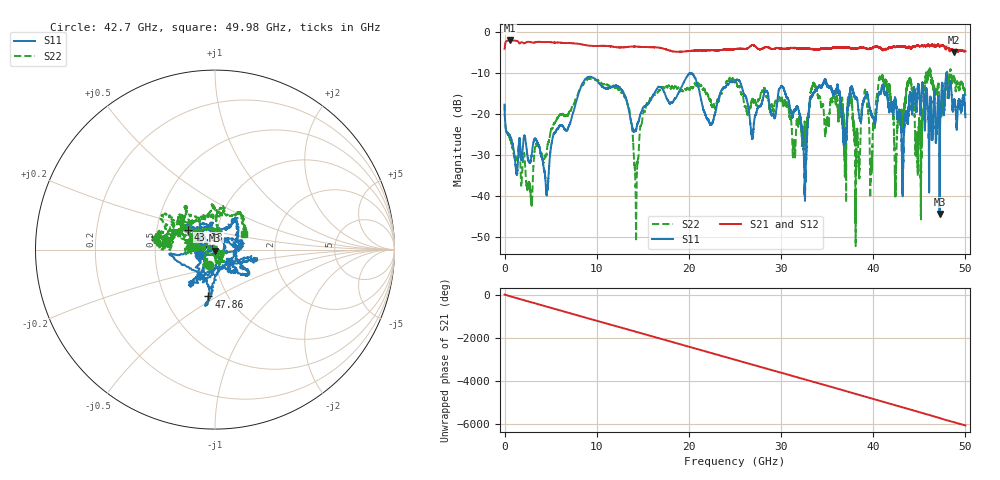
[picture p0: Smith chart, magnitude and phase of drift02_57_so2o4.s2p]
!Created with skrf (http://scikit-rf.org).
# Hz S RI R 50.0
!freq ReS11 ImS11 ReS21 ImS21 ReS12 ImS12 ReS22 ImS22
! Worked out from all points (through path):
!   10001 points, 300 kHz to 50 GHz, reference 50 ohm
!   highest |S21| = -1.99 dB at 625.3 MHz (marker M1); lowest = -4.8 dB at 48.77 GHz (marker M2)
!   group delay of S21, straight-line fit = 337 ps
!   lowest |S11| = -44.3 dB at 47.2 GHz (marker M3), VSWR 1.01, Z = 49.7 - j0.54 ohm
!   |S11| at or under -10 dB: start of sweep to 20.06 GHz; 20.24 GHz to 47.95 GHz (27.71 GHz wide, 81.3 % of centre); 47.96 GHz to end of sweep (the widest 3 of 6)
!   |S22| runs from -52.2 to -8.8 dB; largest |S21 - S12| = 0.035
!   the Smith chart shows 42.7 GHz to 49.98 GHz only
!   S11 on the Smith chart (normalised r, x): 42.7 GHz: 0.83, -0.05; 43.98 GHz: 0.72, +0.17; 47.86 GHz: 0.81, -0.46; 49.98 GHz: 1.15, -0.15
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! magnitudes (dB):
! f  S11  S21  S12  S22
! 300 kHz  -17.8  -4.0  -4.0  -17.4
! 625.3 MHz  -25.5  -2.0  -2.0  -26.3
! 4.565 GHz  -39.7  -2.4  -2.4  -29.4
! 8.335 GHz  -13.0  -2.9  -2.9  -13.2
! 13.01 GHz  -15.3  -3.6  -3.6  -15.7
! 14.28 GHz  -23.8  -3.5  -3.5  -49.7
! 16.67 GHz  -13.3  -3.7  -3.7  -14.5
! 25 GHz  -12.1  -4.1  -4.1  -12.1
! 32.56 GHz  -39.7  -3.9  -3.9  -24.5
! 33.34 GHz  -15.8  -4.0  -4.1  -13.5
! 37.49 GHz  -14.6  -3.8  -3.9  -16.1
! 38.29 GHz  -16.7  -4.0  -3.9  -24.1
! 41.67 GHz  -18.3  -3.8  -3.9  -12.6
! 42.7 GHz  -20.4  -3.5  -3.6  -21.0
! 43.98 GHz  -14.6  -3.7  -3.8  -11.3
! 44.99 GHz  -14.3  -3.3  -3.3  -20.9
! 45.91 GHz  -18.2  -3.1  -3.1  -10.7
! 47.2 GHz  -44.3  -3.5  -3.4  -16.3
! 47.86 GHz  -11.6  -4.1  -4.1  -13.3
! 48.77 GHz  -17.0  -4.8  -4.8  -10.8
! 49.98 GHz  -20.0  -4.6  -4.5  -14.8
! 50 GHz  -20.7  -4.6  -4.6  -15.2
